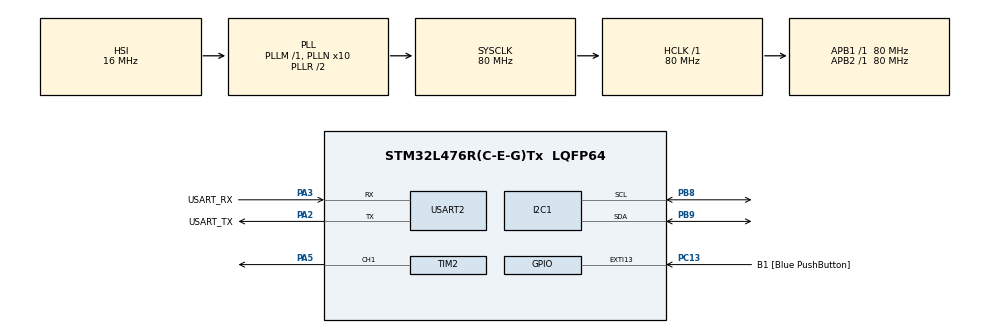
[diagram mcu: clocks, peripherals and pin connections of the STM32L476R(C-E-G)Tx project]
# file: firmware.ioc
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I2C1.Timing=0x10D19CE4
Mcu.Family=STM32L4
Mcu.Name=STM32L476R(C-E-G)Tx
Mcu.Package=LQFP64
NVIC.EXTI15_10_IRQn=true\:0\:0\:false\:false\:true\:true\:true\:true
NVIC.I2C1_ER_IRQn=true\:0\:0\:false\:false\:true\:true\:true\:true
NVIC.I2C1_EV_IRQn=true\:0\:0\:false\:false\:true\:true\:true\:true
NVIC.PriorityGroup=NVIC_PRIORITYGROUP_4
PA13\ (JTMS-SWDIO).GPIO_Label=TMS
PA13\ (JTMS-SWDIO).Mode=Serial_Wire
PA13\ (JTMS-SWDIO).Signal=SYS_JTMS-SWDIO
PA14\ (JTCK-SWCLK).GPIO_Label=TCK
PA14\ (JTCK-SWCLK).Mode=Serial_Wire
PA14\ (JTCK-SWCLK).Signal=SYS_JTCK-SWCLK
PA2.GPIO_Label=USART_TX
PA2.GPIO_Mode=GPIO_MODE_AF_PP
PA2.GPIO_PuPd=GPIO_NOPULL
PA2.GPIO_Speed=GPIO_SPEED_FREQ_VERY_HIGH
PA2.Mode=Asynchronous
PA2.Signal=USART2_TX
PA3.GPIO_Label=USART_RX
PA3.GPIO_Mode=GPIO_MODE_AF_PP
PA3.GPIO_PuPd=GPIO_NOPULL
PA3.GPIO_Speed=GPIO_SPEED_FREQ_VERY_HIGH
PA3.Mode=Asynchronous
PA3.Signal=USART2_RX
PA5.Signal=S_TIM2_CH1
PB3\ (JTDO-TRACESWO).GPIO_Label=SWO
PB3\ (JTDO-TRACESWO).Signal=SYS_JTDO-SWO
PB8.GPIO_Pu=GPIO_PULLUP
PB8.Mode=I2C
PB8.Signal=I2C1_SCL
PB9.GPIO_Pu=GPIO_PULLUP
PB9.Mode=I2C
PB9.Signal=I2C1_SDA
PC13.GPIO_Label=B1 [Blue PushButton]
PC13.GPIO_ModeDefaultEXTI=GPIO_MODE_IT_RISING_FALLING
PC13.GPIO_PuPd=GPIO_NOPULL
PC13.Signal=GPXTI13
PC14-OSC32_IN\ (PC14).Mode=LSE-External-Oscillator
PC14-OSC32_IN\ (PC14).Signal=RCC_OSC32_IN
PC15-OSC32_OUT\ (PC15).Mode=LSE-External-Oscillator
PC15-OSC32_OUT\ (PC15).Signal=RCC_OSC32_OUT
PH0-OSC_IN\ (PH0).Signal=RCC_OSC_IN
PH1-OSC_OUT\ (PH1).Signal=RCC_OSC_OUT
ProjectManager.HeapSize=0x800
ProjectManager.StackSize=0x800
ProjectManager.TargetToolchain=CMake
RCC.ADCFreq_Value=64000000
RCC.AHBFreq_Value=80000000
RCC.APB1Freq_Value=80000000
RCC.APB1TimFreq_Value=80000000
RCC.APB2Freq_Value=80000000
RCC.APB2TimFreq_Value=80000000
RCC.CortexFreq_Value=80000000
RCC.HCLKFreq_Value=80000000
RCC.HSE_VALUE=8000000
RCC.HSI_VALUE=16000000
RCC.MSI_VALUE=4000000
RCC.PLLN=10
RCC.PLLSourceVirtual=RCC_PLLSOURCE_HSI
RCC.PREFETCH_ENABLE=1
RCC.SYSCLKFreq_VALUE=80000000
RCC.SYSCLKSource=RCC_SYSCLKSOURCE_PLLCLK
RCC.USBFreq_Value=64000000
RCC.VCOOutputFreq_Value=160000000
SH.S_TIM2_CH1.0=TIM2_CH1,PWM Generation1 CH1
STMicroelectronics.X-CUBE-AI.10.2.0.HeapSize=0x800
STMicroelectronics.X-CUBE-AI.10.2.0.ReadyForCodeGeneration=false
STMicroelectronics.X-CUBE-AI.10.2.0.StackSize=0x800
TIM2.Channel-PWM\ Generation1\ CH1=TIM_CHANNEL_1
TIM2.Period=999
TIM2.Prescaler=79
USART2.VirtualMode-Asynchronous=VM_ASYNC
board=NUCLEO-L476RG

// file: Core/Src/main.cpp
/* USER CODE BEGIN Header */
/**
 ******************************************************************************
 * @file           : main.cpp
 * @brief          : Main program body
 ******************************************************************************
 * @attention
 *
 * Copyright (c) 2026 STMicroelectronics.
 * All rights reserved.
 *
 * This software is licensed under terms that can be found in the LICENSE file
 * in the root directory of this software component.
 * If no LICENSE file comes with this software, it is provided AS-IS.
 *
 ******************************************************************************
 */
/* USER CODE END Header */
#include "main.h"

/* USER CODE BEGIN Includes */
#include <math.h>
#include <stdio.h>
#include <string.h>

#include "arm_math.h"
#include "dsp/filtering_functions.h"
#include "hgag_classifier.h"
#include "stm32l4xx_hal_def.h"
#include "stm32l4xx_hal_i2c.h"
#include "tensorflow/lite/core/c/common.h"
#include "tensorflow/lite/micro/micro_interpreter.h"
#include "tensorflow/lite/micro/micro_mutable_op_resolver.h"
#include "tensorflow/lite/schema/schema_generated.h"
#include <cstdint>
/* USER CODE END Includes */

I2C_HandleTypeDef hi2c1;

TIM_HandleTypeDef htim2;

UART_HandleTypeDef huart2;

/* USER CODE BEGIN PV */

namespace {
using HgagOpResolver = tflite::MicroMutableOpResolver<7>;

TfLiteStatus RegisterOps(HgagOpResolver &op_resolver) {
  TF_LITE_ENSURE_STATUS(op_resolver.AddFullyConnected());
  TF_LITE_ENSURE_STATUS(op_resolver.AddExpandDims());
  TF_LITE_ENSURE_STATUS(op_resolver.AddReshape());
  TF_LITE_ENSURE_STATUS(op_resolver.AddMean());
  TF_LITE_ENSURE_STATUS(op_resolver.AddSoftmax());
  TF_LITE_ENSURE_STATUS(op_resolver.AddMaxPool2D());
  TF_LITE_ENSURE_STATUS(op_resolver.AddConv2D());
  return kTfLiteOk;
}

const float32_t filter_coeffs[20] = {
    0.16717926860848994f,
    -0.3343585372169799f,
    0.16717926860848994f,
    0.5418421547938043f,
    -0.12428811601288457f,
    1.0f,
    2.0f,
    1.0f,
    -1.4203516303076948f,
    -0.5196607446342449f,
    1.0f,
    -2.0f,
    1.0f,
    0.9066302244462777f,
    -0.5744851222349661f,
    1.0f,
    2.0f,
    1.0f,
    -1.7198734191690779f,
    -0.811727845882331f,
};

float32_t accel_x_state[8];
float32_t accel_y_state[8];
float32_t accel_z_state[8];
float32_t gyro_x_state[8];
float32_t gyro_y_state[8];
float32_t gyro_z_state[8];

arm_biquad_cascade_df2T_instance_f32 accel_x_filter;
arm_biquad_cascade_df2T_instance_f32 accel_y_filter;
arm_biquad_cascade_df2T_instance_f32 accel_z_filter;
arm_biquad_cascade_df2T_instance_f32 gyro_x_filter;
arm_biquad_cascade_df2T_instance_f32 gyro_y_filter;
arm_biquad_cascade_df2T_instance_f32 gyro_z_filter;

} // namespace

/* USER CODE END PV */

void SystemClock_Config(void);
static void MX_GPIO_Init(void);
static void MX_USART2_UART_Init(void);
static void MX_TIM2_Init(void);
static void MX_I2C1_Init(void);

int main(void) {

  /* MCU Configuration--------------------------------------------------------*/

  /* Reset of all peripherals, Initializes the Flash interface and the Systick.
   */
  HAL_Init();

  /* Configure the system clock */
  SystemClock_Config();

  /* Initialize all configured peripherals */
  MX_GPIO_Init();
  MX_USART2_UART_Init();
  MX_TIM2_Init();
  MX_I2C1_Init();
  /* USER CODE BEGIN 2 */

  arm_biquad_cascade_df2T_init_f32(&accel_x_filter, 4, filter_coeffs,
                                   accel_x_state);
  arm_biquad_cascade_df2T_init_f32(&accel_y_filter, 4, filter_coeffs,
                                   accel_y_state);
  arm_biquad_cascade_df2T_init_f32(&accel_z_filter, 4, filter_coeffs,
                                   accel_z_state);
  arm_biquad_cascade_df2T_init_f32(&gyro_x_filter, 4, filter_coeffs,
                                   gyro_x_state);
  arm_biquad_cascade_df2T_init_f32(&gyro_y_filter, 4, filter_coeffs,
                                   gyro_y_state);
  arm_biquad_cascade_df2T_init_f32(&gyro_z_filter, 4, filter_coeffs,
                                   gyro_z_state);

  uint8_t who_am_i = 0;
  HAL_I2C_Mem_Read(&hi2c1, 0x68 << 1, 0x75, I2C_MEMADD_SIZE_8BIT, &who_am_i, 1,
                   HAL_MAX_DELAY);

  char buf[64];
  HAL_StatusTypeDef status =
      HAL_I2C_Mem_Read(&hi2c1, 0x68 << 1, 0x75, I2C_MEMADD_SIZE_8BIT, &who_am_i,
                       1, HAL_MAX_DELAY);
  snprintf(buf, sizeof(buf), "WHO_AM_I: 0x%02X, status: %d\r\n", who_am_i,
           status);
  HAL_UART_Transmit(&huart2, reinterpret_cast<uint8_t *>(buf), strlen(buf),
                    HAL_MAX_DELAY);

  uint8_t wake_data = 0x00;
  HAL_StatusTypeDef wake_status =
      HAL_I2C_Mem_Write(&hi2c1, 0x68 << 1, 0x6B, I2C_MEMADD_SIZE_8BIT,
                        &wake_data, 1, HAL_MAX_DELAY);
  snprintf(buf, sizeof(buf), "wake: %d\r\n", wake_status);
  HAL_UART_Transmit(&huart2, reinterpret_cast<uint8_t *>(buf), strlen(buf),
                    HAL_MAX_DELAY);

  uint8_t data = 0x04;
  HAL_I2C_Mem_Write(&hi2c1, 0x68 << 1, 0x19, I2C_MEMADD_SIZE_8BIT, &data, 1,
                    HAL_MAX_DELAY);

  uint8_t dlpf_data = 0x01;
  HAL_I2C_Mem_Write(&hi2c1, 0x68 << 1, 0x1A, I2C_MEMADD_SIZE_8BIT, &dlpf_data,
                    1, HAL_MAX_DELAY);

  /* USER CODE END 2 */

  /* Infinite loop */
  /* USER CODE BEGIN WHILE */
  while (1) {
    uint8_t raw_accel[6];
    status = HAL_I2C_Mem_Read(&hi2c1, 0x68 << 1, 0x3B, I2C_MEMADD_SIZE_8BIT,
                              raw_accel, 6, HAL_MAX_DELAY);

    float accel_x = (int16_t)(raw_accel[0] << 8 | raw_accel[1]);
    float accel_y = (int16_t)(raw_accel[2] << 8 | raw_accel[3]);
    float accel_z = (int16_t)(raw_accel[4] << 8 | raw_accel[5]);

    accel_x /= 16384.0;
    accel_y /= 16384.0;
    accel_z /= 16384.0;

    arm_biquad_cascade_df2T_f32(&accel_x_filter, &accel_x, &accel_x, 1);
    arm_biquad_cascade_df2T_f32(&accel_y_filter, &accel_y, &accel_y, 1);
    arm_biquad_cascade_df2T_f32(&accel_z_filter, &accel_z, &accel_z, 1);

    snprintf(buf, sizeof(buf),
             "ACCEL -- X: %.4f, Y: %.4f, Z: %.4f, status: %d\r\n", accel_x,
             accel_y, accel_z, status);
    HAL_UART_Transmit(&huart2, reinterpret_cast<uint8_t *>(buf), strlen(buf),
                      HAL_MAX_DELAY);

    uint8_t raw_gyro[6];
    status = HAL_I2C_Mem_Read(&hi2c1, 0x68 << 1, 0x43, I2C_MEMADD_SIZE_8BIT,
                              raw_gyro, 6, HAL_MAX_DELAY);

    float gyro_x = (int16_t)(raw_gyro[0] << 8 | raw_gyro[1]);
    float gyro_y = (int16_t)(raw_gyro[2] << 8 | raw_gyro[3]);
    float gyro_z = (int16_t)(raw_gyro[4] << 8 | raw_gyro[5]);

    gyro_x /= 131.0;
    gyro_y /= 131.0;
    gyro_z /= 131.0;

    arm_biquad_cascade_df2T_f32(&gyro_x_filter, &gyro_x, &gyro_x, 1);
    arm_biquad_cascade_df2T_f32(&gyro_y_filter, &gyro_y, &gyro_y, 1);
    arm_biquad_cascade_df2T_f32(&gyro_z_filter, &gyro_z, &gyro_z, 1);

    snprintf(buf, sizeof(buf),
             "GYRO -- X: %.4f, Y: %.4f, Z: %.4f, status: %d\r\n", gyro_x,
             gyro_y, gyro_z, status);
    HAL_UART_Transmit(&huart2, reinterpret_cast<uint8_t *>(buf), strlen(buf),
                      HAL_MAX_DELAY);
    HAL_Delay(5);

    /* USER CODE END WHILE */

  }
}

void SystemClock_Config(void) {
  RCC_OscInitTypeDef RCC_OscInitStruct = {0};
  RCC_ClkInitTypeDef RCC_ClkInitStruct = {0};

  /** Configure the main internal regulator output voltage
   */
  if (HAL_PWREx_ControlVoltageScaling(PWR_REGULATOR_VOLTAGE_SCALE1) != HAL_OK) {
    Error_Handler();
  }

  /** Initializes the RCC Oscillators according to the specified parameters
   * in the RCC_OscInitTypeDef structure.
   */
  RCC_OscInitStruct.OscillatorType = RCC_OSCILLATORTYPE_HSI;
  RCC_OscInitStruct.HSIState = RCC_HSI_ON;
  RCC_OscInitStruct.HSICalibrationValue = RCC_HSICALIBRATION_DEFAULT;
  RCC_OscInitStruct.PLL.PLLState = RCC_PLL_ON;
  RCC_OscInitStruct.PLL.PLLSource = RCC_PLLSOURCE_HSI;
  RCC_OscInitStruct.PLL.PLLM = 1;
  RCC_OscInitStruct.PLL.PLLN = 10;
  RCC_OscInitStruct.PLL.PLLP = RCC_PLLP_DIV7;
  RCC_OscInitStruct.PLL.PLLQ = RCC_PLLQ_DIV2;
  RCC_OscInitStruct.PLL.PLLR = RCC_PLLR_DIV2;
  if (HAL_RCC_OscConfig(&RCC_OscInitStruct) != HAL_OK) {
    Error_Handler();
  }

  /** Initializes the CPU, AHB and APB buses clocks
   */
  RCC_ClkInitStruct.ClockType = RCC_CLOCKTYPE_HCLK | RCC_CLOCKTYPE_SYSCLK |
                                RCC_CLOCKTYPE_PCLK1 | RCC_CLOCKTYPE_PCLK2;
  RCC_ClkInitStruct.SYSCLKSource = RCC_SYSCLKSOURCE_PLLCLK;
  RCC_ClkInitStruct.AHBCLKDivider = RCC_SYSCLK_DIV1;
  RCC_ClkInitStruct.APB1CLKDivider = RCC_HCLK_DIV1;
  RCC_ClkInitStruct.APB2CLKDivider = RCC_HCLK_DIV1;

  if (HAL_RCC_ClockConfig(&RCC_ClkInitStruct, FLASH_LATENCY_4) != HAL_OK) {
    Error_Handler();
  }
}

static void MX_I2C1_Init(void) {

  hi2c1.Instance = I2C1;
  hi2c1.Init.Timing = 0x10D19CE4;
  hi2c1.Init.OwnAddress1 = 0;
  hi2c1.Init.AddressingMode = I2C_ADDRESSINGMODE_7BIT;
  hi2c1.Init.DualAddressMode = I2C_DUALADDRESS_DISABLE;
  hi2c1.Init.OwnAddress2 = 0;
  hi2c1.Init.OwnAddress2Masks = I2C_OA2_NOMASK;
  hi2c1.Init.GeneralCallMode = I2C_GENERALCALL_DISABLE;
  hi2c1.Init.NoStretchMode = I2C_NOSTRETCH_DISABLE;
  if (HAL_I2C_Init(&hi2c1) != HAL_OK) {
    Error_Handler();
  }

  /** Configure Analogue filter
   */
  if (HAL_I2CEx_ConfigAnalogFilter(&hi2c1, I2C_ANALOGFILTER_ENABLE) != HAL_OK) {
    Error_Handler();
  }

  /** Configure Digital filter
   */
  if (HAL_I2CEx_ConfigDigitalFilter(&hi2c1, 0) != HAL_OK) {
    Error_Handler();
  }
}

static void MX_TIM2_Init(void) {

  TIM_MasterConfigTypeDef sMasterConfig = {0};
  TIM_OC_InitTypeDef sConfigOC = {0};

  htim2.Instance = TIM2;
  htim2.Init.Prescaler = 79;
  htim2.Init.CounterMode = TIM_COUNTERMODE_UP;
  htim2.Init.Period = 999;
  htim2.Init.ClockDivision = TIM_CLOCKDIVISION_DIV1;
  htim2.Init.AutoReloadPreload = TIM_AUTORELOAD_PRELOAD_DISABLE;
  if (HAL_TIM_PWM_Init(&htim2) != HAL_OK) {
    Error_Handler();
  }
  sMasterConfig.MasterOutputTrigger = TIM_TRGO_RESET;
  sMasterConfig.MasterSlaveMode = TIM_MASTERSLAVEMODE_DISABLE;
  if (HAL_TIMEx_MasterConfigSynchronization(&htim2, &sMasterConfig) != HAL_OK) {
    Error_Handler();
  }
  sConfigOC.OCMode = TIM_OCMODE_PWM1;
  sConfigOC.Pulse = 0;
  sConfigOC.OCPolarity = TIM_OCPOLARITY_HIGH;
  sConfigOC.OCFastMode = TIM_OCFAST_DISABLE;
  if (HAL_TIM_PWM_ConfigChannel(&htim2, &sConfigOC, TIM_CHANNEL_1) != HAL_OK) {
    Error_Handler();
  }
  HAL_TIM_MspPostInit(&htim2);
}

static void MX_USART2_UART_Init(void) {

  huart2.Instance = USART2;
  huart2.Init.BaudRate = 115200;
  huart2.Init.WordLength = UART_WORDLENGTH_8B;
  huart2.Init.StopBits = UART_STOPBITS_1;
  huart2.Init.Parity = UART_PARITY_NONE;
  huart2.Init.Mode = UART_MODE_TX_RX;
  huart2.Init.HwFlowCtl = UART_HWCONTROL_NONE;
  huart2.Init.OverSampling = UART_OVERSAMPLING_16;
  huart2.Init.OneBitSampling = UART_ONE_BIT_SAMPLE_DISABLE;
  huart2.AdvancedInit.AdvFeatureInit = UART_ADVFEATURE_NO_INIT;
  if (HAL_UART_Init(&huart2) != HAL_OK) {
    Error_Handler();
  }
}

static void MX_GPIO_Init(void) {
  GPIO_InitTypeDef GPIO_InitStruct = {0};

  /* GPIO Ports Clock Enable */
  __HAL_RCC_GPIOC_CLK_ENABLE();
  __HAL_RCC_GPIOH_CLK_ENABLE();
  __HAL_RCC_GPIOA_CLK_ENABLE();
  __HAL_RCC_GPIOB_CLK_ENABLE();

  /*Configure GPIO pin : B1_Pin */
  GPIO_InitStruct.Pin = B1_Pin;
  GPIO_InitStruct.Mode = GPIO_MODE_IT_RISING_FALLING;
  GPIO_InitStruct.Pull = GPIO_NOPULL;
  HAL_GPIO_Init(B1_GPIO_Port, &GPIO_InitStruct);

  /* EXTI interrupt init*/
  HAL_NVIC_SetPriority(EXTI15_10_IRQn, 0, 0);
  HAL_NVIC_EnableIRQ(EXTI15_10_IRQn);

}

void Error_Handler(void) {
  __disable_irq();
  while (1) {
  }
}
#ifdef USE_FULL_ASSERT
/**
 * @brief  Reports the name of the source file and the source line number
 *         where the assert_param error has occurred.
 * @param  file: pointer to the source file name
 * @param  line: assert_param error line source number
 * @retval None
 */
void assert_failed(uint8_t *file, uint32_t line) {
  /* USER CODE BEGIN 6 */
  /* User can add his own implementation to report the file name and line
     number, ex: printf("Wrong parameters value: file %s on line %d\r\n", file,
     line) */
  /* USER CODE END 6 */
}
#endif /* USE_FULL_ASSERT */
